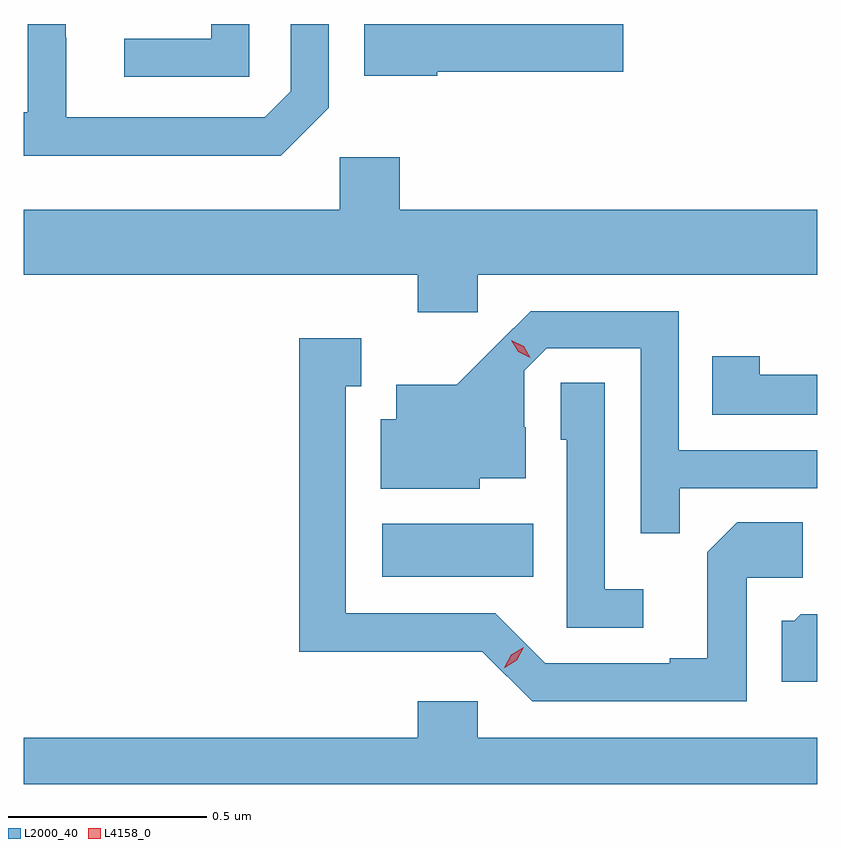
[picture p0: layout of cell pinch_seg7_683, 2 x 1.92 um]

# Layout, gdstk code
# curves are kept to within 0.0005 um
import gdstk
lib = gdstk.Library(unit=1e-6, precision=1e-09)
def R(c, l, rs):  # rectangles x0, y0, x1, y1
    for r in rs: c.add(gdstk.rectangle(r[:2], r[2:], *l))
def P(c, l, *ps):  # polygons
    for p in ps: c.add(gdstk.Polygon(p, *l))
L2000_40 = (2000, 40)
L4158_0 = (4158, 0)

pinch_seg7_683 = lib.new_cell('pinch_seg7_683')
R(pinch_seg7_683, L2000_40, [(143.148,998.522,143.528,998.656)])
P(pinch_seg7_683, L2000_40, [(143.286,999.796),(143.755,999.796),(143.755,999.916),(143.102,999.916),(143.102,999.785),(143.286,999.785)],
  [(143.013,999.705),(143.013,999.916),(142.917,999.916),(142.917,999.747),(142.851,999.681),(142.351,999.681),(142.351,999.881),(142.35,999.881),(142.35,999.916),(142.254,999.916),(142.254,999.694),(142.244,999.694),(142.244,999.584),(142.892,999.584)],
  [(142.812,999.916),(142.716,999.916),(142.716,999.879),(142.497,999.879),(142.497,999.783),(142.812,999.783)],
  [(143.388,999.284),(144.244,999.284),(144.244,999.448),(143.192,999.448),(143.192,999.58),(143.04,999.58),(143.04,999.448),(142.244,999.448),(142.244,999.284),(143.237,999.284),(143.237,999.189),(143.388,999.189)],
  [(143.897,998.745),(144.244,998.745),(144.244,998.841),(143.895,998.841),(143.895,999.192),(143.522,999.192),(143.335,999.007),(143.183,999.007),(143.183,998.92),(143.144,998.92),(143.144,998.744),(143.394,998.744),(143.394,998.771),(143.509,998.771),(143.509,998.9),(143.505,998.9),(143.505,999.042),(143.562,999.099),(143.799,999.099),(143.799,998.632),(143.897,998.632)],
  [(144.066,998.52),(144.208,998.52),(144.208,998.66),(144.043,998.66),(143.967,998.584),(143.967,998.317),(143.873,998.317),(143.873,998.304),(143.559,998.304),(143.433,998.43),(143.056,998.43),(143.056,999.003),(143.095,999.003),(143.095,999.124),(142.938,999.124),(142.938,998.333),(143.178,998.333),(143.178,998.334),(143.4,998.334),(143.526,998.208),(144.066,998.208)],
  [(144.244,999.032),(144.099,999.032),(144.099,999.079),(143.98,999.079),(143.98,998.931),(144.244,998.931)],
  [(143.806,998.491),(143.709,998.491),(143.709,999.011),(143.598,999.011),(143.598,998.868),(143.613,998.868),(143.613,998.394),(143.806,998.394)],
  [(144.244,998.428),(144.202,998.428),(144.186,998.412),(144.155,998.412),(144.155,998.258),(144.244,998.258)],
  [(144.244,998.116),(143.388,998.116),(143.388,998.209),(143.237,998.209),(143.237,998.116),(142.244,998.116),(142.244,998),(144.244,998)])
P(pinch_seg7_683, L4158_0, [(143.521,999.075),(143.49,999.09),(143.473,999.119),(143.473,999.119),(143.473,999.119),(143.504,999.104),(143.521,999.075),(143.521,999.075)],
  [(143.455,998.293),(143.455,998.293),(143.473,998.326),(143.504,998.345),(143.504,998.345),(143.504,998.345),(143.487,998.312),(143.456,998.293)])

lib.write_gds('pinch_seg7_683.gds')
